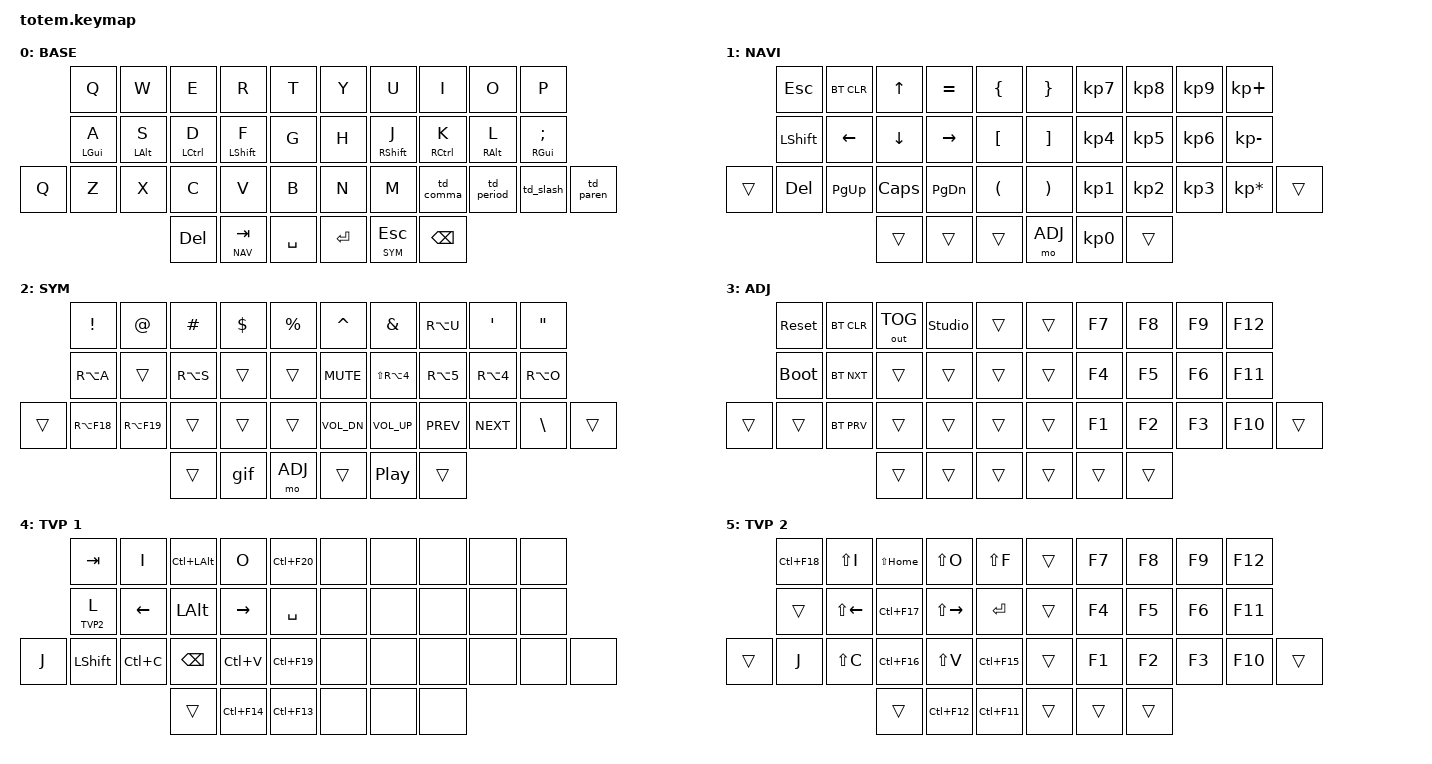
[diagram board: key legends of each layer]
//
//                                                        ▀▀▀▀▀     ▀▀▀▀▀          ▀▀█▀▀
//                                                        ▄▀▀▀▄  ▄  ▄▀▀▀▄  ▄  ▄▀▀▀▄  █  ▄▀▀▀▄
//                                                        █   █  █  █   █  █  █   █  █  █   █
//                                                         ▀▀▀   █   ▀▀▀   █   ▀▀▀   ▀   ▀▀▀
//                                                               █      ▄▄▄█▄▄▄    █   █  
//                                                               ▀      █  █  █     █▄█
//                                                             ▀▀▀▀▀    █  █  █      ▀
//                                                                      ▀  ▀  ▀
//
// ▄▄▄▄▄▄▄▄▄▄▄▄▄▄▄▄▄▄▄▄▄▄▄▄▄▄▄▄▄▄▄▄▄▄▄▄▄▄▄▄▄▄▄▄▄▄▄▄▄▄▄▄▄▄▄▄▄▄▄▄▄▄▄▄▄▄▄▄▄▄▄▄▄▄▄▄▄▄▄▄▄▄▄▄▄▄▄▄▄▄▄▄▄▄▄▄▄▄▄▄▄▄▄▄▄▄▄▄▄▄▄▄▄▄▄▄▄▄▄▄▄▄▄▄▄▄▄▄▄▄▄▄▄▄▄▄▄▄▄▄▄▄▄▄▄▄▄▄▄

#include <behaviors.dtsi>
#include <dt-bindings/zmk/keys.h>
#include <dt-bindings/zmk/bt.h>
#include <dt-bindings/zmk/outputs.h>
#define BASE 0
#define NAV  1
#define SYM  2
#define ADJ  3
#define TVP1 4
#define TVP2 5

&mt {
  quick-tap-ms = <100>;
  global-quick-tap;
  flavor = "tap-preferred";
  tapping-term-ms = <170>;
};

/ {
     combos {
            compatible = "zmk,combos";
            combo_esc {
                timeout-ms = <50>;
                key-positions = <0 1>;
                bindings = <&kp ESC>;
            };
            combo_tvp {
                timeout-ms = <100>;
                key-positions = <11 12 13>;
                bindings = <&tog TVP1>;
            };
    };

    macros {
        gif: gif {
            label = "giphy";
            compatible = "zmk,behavior-macro";
            #binding-cells = <0>;
            bindings
                = <&macro_press &kp LSHFT>
                , <&macro_tap &kp N2>
                , <&macro_release &kp LSHFT>
                , <&macro_tap &kp G &kp I &kp F>
                ;
        };
    };

    behaviors {
        td_comma: td_comma {
            compatible = "zmk,behavior-tap-dance";
            label = "TD_COMMA";
            #binding-cells = <0>;
            tapping-term-ms = <200>;
            bindings = <&kp COMMA>, <&kp SEMI>;
        };

        td_period: td_period {
            compatible = "zmk,behavior-tap-dance";
            label = "TD_PERIOD";
            #binding-cells = <0>;
            tapping-term-ms = <200>;
            bindings = <&kp DOT>, <&kp COLON>;
        };

        td_slash: td_slash {
            compatible = "zmk,behavior-tap-dance";
            label = "TD_SLASH";
            #binding-cells = <0>;
            tapping-term-ms = <200>;
            bindings = <&kp FSLH>, <&kp BSLH>;
        };

        td_paren: td_paren {
            compatible = "zmk,behavior-tap-dance";
            label = "TD_PAREN";
            #binding-cells = <0>;
            tapping-term-ms = <200>;
            bindings = <&kp LPAR>, <&kp RPAR>;
        };
    };

        keymap {
                compatible = "zmk,keymap";
// ▄▄▄▄▄▄▄▄▄▄▄▄▄▄▄▄▄▄▄▄▄▄▄▄▄▄▄▄▄▄▄▄▄▄▄▄▄▄▄▄▄▄▄▄▄▄▄▄▄▄▄▄▄▄▄▄▄▄▄▄▄▄▄▄▄▄▄▄▄▄▄▄▄▄▄▄▄▄▄▄▄▄▄▄▄▄▄▄▄▄▄▄▄▄▄▄▄▄▄▄▄▄▄▄▄▄▄▄▄▄▄▄▄▄▄▄▄▄▄▄▄▄▄▄▄▄▄▄▄▄▄▄▄▄▄▄▄▄▄▄▄▄▄▄▄▄▄▄▄

                base_layer {
// ┏━━━━━━━━━━━━━━━━━━━━━━━━━━━━━━━━━━━━━━━┓
label= "BASE"                              ;
// ┗━━━━━━━━━━━━━━━━━━━━━━━━━━━━━━━━━━━━━━━┛
//             ┏━━━━━━━━━━━┳━━━━━━━━━━━┳━━━━━━━━━━━┳━━━━━━━━━━━┳━━━━━━━━━━━┓   ┏━━━━━━━━━━━┳━━━━━━━━━━━┳━━━━━━━━━━━┳━━━━━━━━━━━┳━━━━━━━━━━━┓
//             ┃     Q     ┃     W     ┃     E     ┃     R     ┃     T     ┃   ┃     Y     ┃     U     ┃     I     ┃     O     ┃     P     ┃
//             ┣━━━━━━━━━━━╋━━━━━━━━━━━╋━━━━━━━━━━━╋━━━━━━━━━━━╋━━━━━━━━━━━┫   ┣━━━━━━━━━━━╋━━━━━━━━━━━╋━━━━━━━━━━━╋━━━━━━━━━━━╋━━━━━━━━━━━┫
//             ┃     A     ┃     S     ┃     D     ┃     F     ┃     G     ┃   ┃     H     ┃     J     ┃     K     ┃     L     ┃     ;     ┃
// ┏━━━━━━━━━━━╋━━━━━━━━━━━╋━━━━━━━━━━━╋━━━━━━━━━━━╋━━━━━━━━━━━╋━━━━━━━━━━━┫   ┣━━━━━━━━━━━╋━━━━━━━━━━━╋━━━━━━━━━━━╋━━━━━━━━━━━╋━━━━━━━━━━━╋━━━━━━━━━━━┓
// ┃     Q     ┃     Z     ┃     X     ┃     C     ┃     V     ┃     B     ┃   ┃     N     ┃     M     ┃     ,     ┃     .     ┃     /     ┃     \     ┃
// ┗━━━━━━━━━━━┻━━━━━━━━━━━┻━━━━━━━━━━━╋━━━━━━━━━━━╋━━━━━━━━━━━╋━━━━━━━━━━━┫   ┣━━━━━━━━━━━╋━━━━━━━━━━━╋━━━━━━━━━━━╋━━━━━━━━━━━┻━━━━━━━━━━━┻━━━━━━━━━━━┛
//                                     ┃    DEL    ┃    TAB    ┃    SPC    ┃   ┃   ENTER   ┃    ESC    ┃   BSPC    ┃
//                                     ┗━━━━━━━━━━━┻━━━━━━━━━━━┻━━━━━━━━━━━┛   ┗━━━━━━━━━━━┻━━━━━━━━━━━┻━━━━━━━━━━━┛
 bindings = <
// ╷           ╷           ╷           ╷           ╷           ╷           ╷   ╷           ╷           ╷           ╷           ╷           ╷           ╷

                &kp Q       &kp W       &kp E       &kp R       &kp T           &kp Y       &kp U       &kp I       &kp O       &kp P
                &mt LGUI A  &mt LALT S  &mt LCTRL D &mt LSHFT F &kp G           &kp H       &mt RSHFT J &mt RCTRL K &mt RALT L  &mt RGUI SEMI
    &kp Q       &kp Z       &kp X       &kp C       &kp V       &kp B           &kp N       &kp M       &td_comma   &td_period  &td_slash   &td_paren
                                        &kp DEL   &lt NAV TAB   &kp SPACE       &kp RET   &lt SYM ESC   &kp BSPC
                        >;
                };

// ▄▄▄▄▄▄▄▄▄▄▄▄▄▄▄▄▄▄▄▄▄▄▄▄▄▄▄▄▄▄▄▄▄▄▄▄▄▄▄▄▄▄▄▄▄▄▄▄▄▄▄▄▄▄▄▄▄▄▄▄▄▄▄▄▄▄▄▄▄▄▄▄▄▄▄▄▄▄▄▄▄▄▄▄▄▄▄▄▄▄▄▄▄▄▄▄▄▄▄▄▄▄▄▄▄▄▄▄▄▄▄▄▄▄▄▄▄▄▄▄▄▄▄▄▄▄▄▄▄▄▄▄▄▄▄▄▄▄▄▄▄▄▄▄▄▄▄▄▄


                nav_layer {
// ┏━━━━━━━━━━━━━━━━━━━━━━━━━━━━━━━━━━━━━━━┓
label= "NAVI"                              ;
// ┗━━━━━━━━━━━━━━━━━━━━━━━━━━━━━━━━━━━━━━━┛
//             ┏━━━━━━━━━━━┳━━━━━━━━━━━┳━━━━━━━━━━━┳━━━━━━━━━━━┳━━━━━━━━━━━┓   ┏━━━━━━━━━━━┳━━━━━━━━━━━┳━━━━━━━━━━━┳━━━━━━━━━━━┳━━━━━━━━━━━┓
//             ┃           ┃           ┃     UP    ┃           ┃     {     ┃   ┃     }     ┃     7     ┃     8     ┃     9     ┃     +     ┃
//             ┣━━━━━━━━━━━╋━━━━━━━━━━━╋━━━━━━━━━━━╋━━━━━━━━━━━╋━━━━━━━━━━━┫   ┣━━━━━━━━━━━╋━━━━━━━━━━━╋━━━━━━━━━━━╋━━━━━━━━━━━╋━━━━━━━━━━━┫
//             ┃   SHIFT   ┃   LEFT    ┃    DOWN   ┃   RIGHT   ┃     [     ┃   ┃     ]     ┃     4     ┃     5     ┃     6     ┃     -     ┃
// ┏━━━━━━━━━━━╋━━━━━━━━━━━╋━━━━━━━━━━━╋━━━━━━━━━━━╋━━━━━━━━━━━╋━━━━━━━━━━━┫   ┣━━━━━━━━━━━╋━━━━━━━━━━━╋━━━━━━━━━━━╋━━━━━━━━━━━╋━━━━━━━━━━━╋━━━━━━━━━━━┓
// ┃           ┃           ┃   P UP    ┃  C LOCK   ┃  P DOWN   ┃     (     ┃   ┃     )     ┃     1     ┃     2     ┃     3     ┃     *     ┃           ┃
// ┗━━━━━━━━━━━┻━━━━━━━━━━━┻━━━━━━━━━━━╋━━━━━━━━━━━╋━━━━━━━━━━━╋━━━━━━━━━━━┫   ┣━━━━━━━━━━━╋━━━━━━━━━━━╋━━━━━━━━━━━╋━━━━━━━━━━━┻━━━━━━━━━━━┻━━━━━━━━━━━┛
//                                     ┃           ┃    TAB    ┃    SPC    ┃   ┃    DEL    ┃     0     ┃           ┃
//                                     ┗━━━━━━━━━━━┻━━━━━━━━━━━┻━━━━━━━━━━━┛   ┗━━━━━━━━━━━┻━━━━━━━━━━━┻━━━━━━━━━━━┛
 bindings = <
// ╷           ╷           ╷           ╷           ╷           ╷           ╷   ╷           ╷           ╷           ╷           ╷           ╷           ╷

                &kp ESC     &bt BT_CLR  &kp UP      &kp EQUAL   &kp LBRC        &kp RBRC    &kp KP_N7   &kp KP_N8   &kp KP_N9   &kp KP_PLUS
                &kp LSHFT   &kp LEFT    &kp DOWN    &kp RIGHT   &kp LBKT        &kp RBKT    &kp KP_N4   &kp KP_N5   &kp KP_N6   &kp KP_MINUS
    &trans      &kp DEL     &kp PG_UP   &kp CAPS    &kp PG_DN   &kp LPAR        &kp RPAR    &kp KP_N1   &kp KP_N2   &kp KP_N3   &kp KP_MULTIPLY &trans      
                                        &trans      &trans      &trans          &mo ADJ     &kp KP_N0   &trans      
                        >;
                };

// ▄▄▄▄▄▄▄▄▄▄▄▄▄▄▄▄▄▄▄▄▄▄▄▄▄▄▄▄▄▄▄▄▄▄▄▄▄▄▄▄▄▄▄▄▄▄▄▄▄▄▄▄▄▄▄▄▄▄▄▄▄▄▄▄▄▄▄▄▄▄▄▄▄▄▄▄▄▄▄▄▄▄▄▄▄▄▄▄▄▄▄▄▄▄▄▄▄▄▄▄▄▄▄▄▄▄▄▄▄▄▄▄▄▄▄▄▄▄▄▄▄▄▄▄▄▄▄▄▄▄▄▄▄▄▄▄▄▄▄▄▄▄▄▄▄▄▄▄▄


                sim_layer {
// ┏━━━━━━━━━━━━━━━━━━━━━━━━━━━━━━━━━━━━━━━┓
label= "SYM"                               ;
// ┗━━━━━━━━━━━━━━━━━━━━━━━━━━━━━━━━━━━━━━━┛
//             ┏━━━━━━━━━━━┳━━━━━━━━━━━┳━━━━━━━━━━━┳━━━━━━━━━━━┳━━━━━━━━━━━┓   ┏━━━━━━━━━━━┳━━━━━━━━━━━┳━━━━━━━━━━━┳━━━━━━━━━━━┳━━━━━━━━━━━┓
//             ┃     !     ┃     @     ┃     #     ┃     $     ┃     %     ┃   ┃     ˆ     ┃     &     ┃     Ü     ┃     '     ┃     "     ┃
//             ┣━━━━━━━━━━━╋━━━━━━━━━━━╋━━━━━━━━━━━╋━━━━━━━━━━━╋━━━━━━━━━━━┫   ┣━━━━━━━━━━━╋━━━━━━━━━━━╋━━━━━━━━━━━╋━━━━━━━━━━━╋━━━━━━━━━━━┫
//             ┃     Ä     ┃           ┃    SZ     ┃           ┃           ┃   ┃   MUTE    ┃   YEN     ┃   EURO    ┃  POUND    ┃     Ö     ┃
// ┏━━━━━━━━━━━╋━━━━━━━━━━━╋━━━━━━━━━━━╋━━━━━━━━━━━╋━━━━━━━━━━━╋━━━━━━━━━━━┫   ┣━━━━━━━━━━━╋━━━━━━━━━━━╋━━━━━━━━━━━╋━━━━━━━━━━━╋━━━━━━━━━━━╋━━━━━━━━━━━┓
// ┃           ┃  EMAIL1   ┃  EMAIL2   ┃           ┃           ┃           ┃   ┃   VOL-    ┃   VOL+    ┃   LAST    ┃   NEXT    ┃     \     ┃           ┃
// ┗━━━━━━━━━━━┻━━━━━━━━━━━┻━━━━━━━━━━━╋━━━━━━━━━━━╋━━━━━━━━━━━╋━━━━━━━━━━━┫   ┣━━━━━━━━━━━╋━━━━━━━━━━━╋━━━━━━━━━━━╋━━━━━━━━━━━┻━━━━━━━━━━━┻━━━━━━━━━━━┛
//                                     ┃           ┃    GIF    ┃    ADJ    ┃   ┃           ┃           ┃           ┃
//                                     ┗━━━━━━━━━━━┻━━━━━━━━━━━┻━━━━━━━━━━━┛   ┗━━━━━━━━━━━┻━━━━━━━━━━━┻━━━━━━━━━━━┛
 bindings = <
// ╷           ╷           ╷           ╷           ╷           ╷           ╷   ╷           ╷           ╷           ╷           ╷           ╷           ╷

                &kp EXCL    &kp AT      &kp HASH    &kp DLLR    &kp PRCNT       &kp CARET   &kp AMPS    &kp RA(U)   &kp SQT     &kp DQT       
                &kp RA(A)   &trans      &kp RA(S)   &trans      &trans          &kp C_MUTE  &kp LS(RA(N4)) &kp RA(N5) &kp RA(N4)   &kp RA(O) 
    &trans      &kp RA(F18) &kp RA(F19) &trans      &trans      &trans          &kp C_VOL_DN &kp C_VOL_UP &kp C_PREV &kp C_NEXT  &kp BSLH   &trans         
                                        &trans      &gif        &mo ADJ         &trans      &kp C_PP    &trans      
                        >;
                };

// ▄▄▄▄▄▄▄▄▄▄▄▄▄▄▄▄▄▄▄▄▄▄▄▄▄▄▄▄▄▄▄▄▄▄▄▄▄▄▄▄▄▄▄▄▄▄▄▄▄▄▄▄▄▄▄▄▄▄▄▄▄▄▄▄▄▄▄▄▄▄▄▄▄▄▄▄▄▄▄▄▄▄▄▄▄▄▄▄▄▄▄▄▄▄▄▄▄▄▄▄▄▄▄▄▄▄▄▄▄▄▄▄▄▄▄▄▄▄▄▄▄▄▄▄▄▄▄▄▄▄▄▄▄▄▄▄▄▄▄▄▄▄▄▄▄▄▄▄▄


                adjust_layer {
// ┏━━━━━━━━━━━━━━━━━━━━━━━━━━━━━━━━━━━━━━━┓
label= "ADJ"                               ;
// ┗━━━━━━━━━━━━━━━━━━━━━━━━━━━━━━━━━━━━━━━┛
//             ┏━━━━━━━━━━━┳━━━━━━━━━━━┳━━━━━━━━━━━┳━━━━━━━━━━━┳━━━━━━━━━━━┓   ┏━━━━━━━━━━━┳━━━━━━━━━━━┳━━━━━━━━━━━┳━━━━━━━━━━━┳━━━━━━━━━━━┓
//             ┃   RESET   ┃ BT CLEAR  ┃  OUT TOG  ┃           ┃           ┃   ┃           ┃    F7     ┃    F8     ┃    F9     ┃    F12    ┃
//             ┣━━━━━━━━━━━╋━━━━━━━━━━━╋━━━━━━━━━━━╋━━━━━━━━━━━╋━━━━━━━━━━━┫   ┣━━━━━━━━━━━╋━━━━━━━━━━━╋━━━━━━━━━━━╋━━━━━━━━━━━╋━━━━━━━━━━━┫
//             ┃ BOOTLOAD  ┃ BT NEXT   ┃           ┃           ┃           ┃   ┃           ┃    F4     ┃    F5     ┃    F6     ┃    F11    ┃
// ┏━━━━━━━━━━━╋━━━━━━━━━━━╋━━━━━━━━━━━╋━━━━━━━━━━━╋━━━━━━━━━━━╋━━━━━━━━━━━┫   ┣━━━━━━━━━━━╋━━━━━━━━━━━╋━━━━━━━━━━━╋━━━━━━━━━━━╋━━━━━━━━━━━╋━━━━━━━━━━━┓
// ┃           ┃           ┃ BT PREV   ┃           ┃           ┃           ┃   ┃           ┃    F1     ┃    F2     ┃    F3     ┃    F10    ┃           ┃
// ┗━━━━━━━━━━━┻━━━━━━━━━━━┻━━━━━━━━━━━╋━━━━━━━━━━━╋━━━━━━━━━━━╋━━━━━━━━━━━┫   ┣━━━━━━━━━━━╋━━━━━━━━━━━╋━━━━━━━━━━━╋━━━━━━━━━━━┻━━━━━━━━━━━┻━━━━━━━━━━━┛
//                                     ┃           ┃           ┃           ┃   ┃           ┃           ┃           ┃
//                                     ┗━━━━━━━━━━━┻━━━━━━━━━━━┻━━━━━━━━━━━┛   ┗━━━━━━━━━━━┻━━━━━━━━━━━┻━━━━━━━━━━━┛
 bindings = <
// ╷           ╷           ╷           ╷           ╷           ╷           ╷   ╷           ╷           ╷           ╷           ╷           ╷           ╷

                &sys_reset  &bt BT_CLR &out OUT_TOG &studio_unlock &trans        &trans      &kp F7      &kp F8      &kp F9      &kp F12
                &bootloader &bt BT_NXT  &trans      &trans      &trans          &trans      &kp F4      &kp F5      &kp F6      &kp F11  
    &trans      &trans      &bt BT_PRV  &trans      &trans      &trans          &trans      &kp F1      &kp F2      &kp F3      &kp F10     &trans         
                                        &trans      &trans      &trans          &trans      &trans      &trans      
                        >;
                };

// ▄▄▄▄▄▄▄▄▄▄▄▄▄▄▄▄▄▄▄▄▄▄▄▄▄▄▄▄▄▄▄▄▄▄▄▄▄▄▄▄▄▄▄▄▄▄▄▄▄▄▄▄▄▄▄▄▄▄▄▄▄▄▄▄▄▄▄▄▄▄▄▄▄▄▄▄▄▄▄▄▄▄▄▄▄▄▄▄▄▄▄▄▄▄▄▄▄▄▄▄▄▄▄▄▄▄▄▄▄▄▄▄▄▄▄▄▄▄▄▄▄▄▄▄▄▄▄▄▄▄▄▄▄▄▄▄▄▄▄▄▄▄▄▄▄▄▄▄▄


                tvp1_layer {
// ┏━━━━━━━━━━━━━━━━━━━━━━━━━━━━━━━━━━━━━━━┓
label= "TVP 1"                             ;
// ┗━━━━━━━━━━━━━━━━━━━━━━━━━━━━━━━━━━━━━━━┛
//             ┏━━━━━━━━━━━┳━━━━━━━━━━━┳━━━━━━━━━━━┳━━━━━━━━━━━┳━━━━━━━━━━━┓   ┏━━━━━━━━━━━┳━━━━━━━━━━━┳━━━━━━━━━━━┳━━━━━━━━━━━┳━━━━━━━━━━━┓
//             ┃ NEXT FILE ┃ MARK IN   ┃ ROTATE    ┃ MARK OUT  ┃ SHOW SNAP ┃   ┃           ┃           ┃           ┃           ┃           ┃
//             ┣━━━━━━━━━━━╋━━━━━━━━━━━╋━━━━━━━━━━━╋━━━━━━━━━━━╋━━━━━━━━━━━┫   ┣━━━━━━━━━━━╋━━━━━━━━━━━╋━━━━━━━━━━━╋━━━━━━━━━━━╋━━━━━━━━━━━┫
//             ┃ TVP II    ┃ LEFT      ┃ PAN       ┃ RIGHT     ┃ PLAY/FLIP ┃   ┃           ┃           ┃           ┃           ┃           ┃
// ┏━━━━━━━━━━━╋━━━━━━━━━━━╋━━━━━━━━━━━╋━━━━━━━━━━━╋━━━━━━━━━━━╋━━━━━━━━━━━┫   ┣━━━━━━━━━━━╋━━━━━━━━━━━╋━━━━━━━━━━━╋━━━━━━━━━━━╋━━━━━━━━━━━╋━━━━━━━━━━━┓
// ┃ FULLSCR   ┃ SHIFT     ┃ COPY      ┃ DELETE    ┃ PASTE     ┃ IMG MARK  ┃   ┃           ┃           ┃           ┃           ┃           ┃           ┃
// ┗━━━━━━━━━━━┻━━━━━━━━━━━┻━━━━━━━━━━━╋━━━━━━━━━━━╋━━━━━━━━━━━╋━━━━━━━━━━━┫   ┣━━━━━━━━━━━╋━━━━━━━━━━━╋━━━━━━━━━━━╋━━━━━━━━━━━┻━━━━━━━━━━━┻━━━━━━━━━━━┛
//                                     ┃           ┃ UNDO/SAVE ┃  SEL/MOV  ┃   ┃           ┃           ┃           ┃
//                                     ┗━━━━━━━━━━━┻━━━━━━━━━━━┻━━━━━━━━━━━┛   ┗━━━━━━━━━━━┻━━━━━━━━━━━┻━━━━━━━━━━━┛
 bindings = <
// ╷           ╷           ╷           ╷           ╷           ╷           ╷   ╷           ╷           ╷           ╷           ╷           ╷           ╷

                &kp TAB     &kp I       &kp LC(LALT) &kp O      &kp LC(F20)     &none       &none       &none       &none       &none
                &lt TVP2 L  &kp LEFT    &kp LALT    &kp RIGHT   &kp SPACE       &none       &none       &none       &none       &none
    &kp J       &kp LSHFT   &kp LC(C)   &kp BSPC    &kp LC(V)   &kp LC(F19)     &none       &none       &none       &none       &none       &none        
                                        &trans      &kp LC(F14) &kp LC(F13)     &none       &none       &none    
                        >;
                };

// ▄▄▄▄▄▄▄▄▄▄▄▄▄▄▄▄▄▄▄▄▄▄▄▄▄▄▄▄▄▄▄▄▄▄▄▄▄▄▄▄▄▄▄▄▄▄▄▄▄▄▄▄▄▄▄▄▄▄▄▄▄▄▄▄▄▄▄▄▄▄▄▄▄▄▄▄▄▄▄▄▄▄▄▄▄▄▄▄▄▄▄▄▄▄▄▄▄▄▄▄▄▄▄▄▄▄▄▄▄▄▄▄▄▄▄▄▄▄▄▄▄▄▄▄▄▄▄▄▄▄▄▄▄▄▄▄▄▄▄▄▄▄▄▄▄▄▄▄▄


                tvp2_layer {
// ┏━━━━━━━━━━━━━━━━━━━━━━━━━━━━━━━━━━━━━━━┓
label= "TVP 2"                             ;
// ┗━━━━━━━━━━━━━━━━━━━━━━━━━━━━━━━━━━━━━━━┛
//             ┏━━━━━━━━━━━┳━━━━━━━━━━━┳━━━━━━━━━━━┳━━━━━━━━━━━┳━━━━━━━━━━━┓   ┏━━━━━━━━━━━┳━━━━━━━━━━━┳━━━━━━━━━━━┳━━━━━━━━━━━┳━━━━━━━━━━━┓
//             ┃ SOLO      ┃ TOGGLE IN ┃ RESET ROT ┃ TOGGLE OUT┃ TAKE SNAP ┃   ┃           ┃           ┃           ┃           ┃           ┃
//             ┣━━━━━━━━━━━╋━━━━━━━━━━━╋━━━━━━━━━━━╋━━━━━━━━━━━╋━━━━━━━━━━━┫   ┣━━━━━━━━━━━╋━━━━━━━━━━━╋━━━━━━━━━━━╋━━━━━━━━━━━╋━━━━━━━━━━━┫
//             ┃ ---       ┃ LAST KEY  ┃ NEW KEY   ┃ NEXT KEY  ┃ ENTER     ┃   ┃           ┃           ┃           ┃           ┃           ┃
// ┏━━━━━━━━━━━╋━━━━━━━━━━━╋━━━━━━━━━━━╋━━━━━━━━━━━╋━━━━━━━━━━━╋━━━━━━━━━━━┫   ┣━━━━━━━━━━━╋━━━━━━━━━━━╋━━━━━━━━━━━╋━━━━━━━━━━━╋━━━━━━━━━━━╋━━━━━━━━━━━┓
// ┃           ┃ FULLSCR   ┃ CPY2BRUSH ┃ DEL HEAD  ┃ PSTinPLACE┃ BOOK MARK ┃   ┃           ┃           ┃           ┃           ┃           ┃           ┃
// ┗━━━━━━━━━━━┻━━━━━━━━━━━┻━━━━━━━━━━━╋━━━━━━━━━━━╋━━━━━━━━━━━╋━━━━━━━━━━━┫   ┣━━━━━━━━━━━╋━━━━━━━━━━━╋━━━━━━━━━━━╋━━━━━━━━━━━┻━━━━━━━━━━━┻━━━━━━━━━━━┛
//                                     ┃           ┃ REDO/SAV1 ┃TRANS/WARP ┃   ┃           ┃           ┃           ┃
//                                     ┗━━━━━━━━━━━┻━━━━━━━━━━━┻━━━━━━━━━━━┛   ┗━━━━━━━━━━━┻━━━━━━━━━━━┻━━━━━━━━━━━┛
 bindings = <
// ╷           ╷           ╷           ╷           ╷           ╷           ╷   ╷           ╷           ╷           ╷           ╷           ╷           ╷

                &kp LC(F18) &kp LS(I)  &kp LS(HOME) &kp LS(O)   &kp LS(F)       &trans      &kp F7      &kp F8      &kp F9      &kp F12
                &trans      &kp LS(LEFT) &kp LC(F17) &kp LS(RIGHT) &kp RET      &trans      &kp F4      &kp F5      &kp F6      &kp F11  
    &trans      &kp J       &kp LS(C)   &kp LC(F16) &kp LS(V)   &kp LC(F15)     &trans      &kp F1      &kp F2      &kp F3      &kp F10     &trans         
                                        &trans      &kp LC(F12) &kp LC(F11)     &trans      &trans      &trans      
                        >;
                };
        };
};
